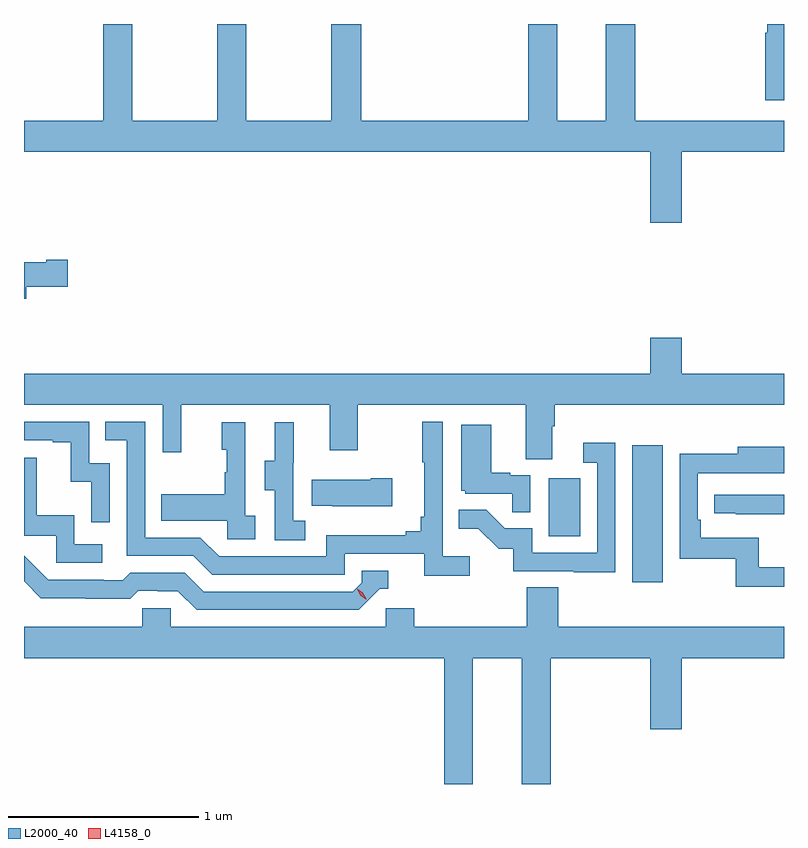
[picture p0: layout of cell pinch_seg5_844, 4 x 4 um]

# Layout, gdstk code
import gdstk
lib = gdstk.Library(unit=1e-6, precision=1e-09)
def R(c, l, rs):  # rectangles x0, y0, x1, y1
    for r in rs: c.add(gdstk.rectangle(r[:2], r[2:], *l))
def P(c, l, *ps):  # polygons
    for p in ps: c.add(gdstk.Polygon(p, *l))
L2000_40 = (2000, 40)
L4158_0 = (4158, 0)

pinch_seg5_844 = lib.new_cell('pinch_seg5_844')
R(pinch_seg5_844, L2000_40, [(824.252,879.804,824.413,880.525), (823.814,880.044,823.978,880.351)])
P(pinch_seg5_844, L2000_40, [(825.051,882.741),(824.963,882.741),(824.963,882.694),(824.951,882.694),(824.951,882.339),(825.051,882.339)],
  [(824.512,882.068),(825.051,882.068),(825.051,882.232),(824.267,882.232),(824.267,882.741),(824.114,882.741),(824.114,882.232),(823.858,882.232),(823.858,882.741),(823.706,882.741),(823.706,882.232),(822.827,882.232),(822.827,882.741),(822.667,882.741),(822.667,882.232),(822.222,882.232),(822.222,882.741),(822.067,882.741),(822.067,882.232),(821.622,882.232),(821.622,882.741),(821.467,882.741),(821.467,882.232),(821.051,882.232),(821.051,882.068),(824.348,882.068),(824.348,881.694),(824.512,881.694)],
  [(821.063,881.359),(821.281,881.359),(821.281,881.501),(821.168,881.501),(821.168,881.488),(821.051,881.488),(821.051,881.294),(821.063,881.294)],
  [(821.051,880.736),(821.781,880.736),(821.781,880.488),(821.879,880.488),(821.879,880.736),(822.659,880.736),(822.659,880.497),(822.807,880.497),(822.807,880.736),(823.691,880.736),(823.691,880.45),(823.831,880.45),(823.831,880.624),(823.844,880.624),(823.844,880.736),(825.051,880.736),(825.051,880.9),(824.512,880.9),(824.512,881.089),(824.348,881.089),(824.348,880.9),(821.051,880.9)],
  [(823.396,879.94),(823.254,879.94),(823.254,880.648),(823.146,880.648),(823.146,880.435),(823.157,880.435),(823.157,880.147),(823.138,880.147),(823.138,880.07),(823.061,880.07),(823.061,880.051),(822.642,880.051),(822.642,879.939),(822.078,879.939),(821.979,880.038),(821.688,880.038),(821.688,880.647),(821.479,880.647),(821.479,880.551),(821.592,880.551),(821.592,879.942),(821.942,879.942),(822.041,879.843),(822.738,879.843),(822.738,879.954),(823.157,879.954),(823.157,879.838),(823.396,879.838)],
  [(821.502,880.428),(821.394,880.428),(821.394,880.647),(821.051,880.647),(821.051,880.551),(821.201,880.551),(821.201,880.539),(821.297,880.539),(821.297,880.331),(821.406,880.331),(821.406,880.119),(821.502,880.119)],
  [(822.532,880.127),(822.468,880.127),(822.468,880.431),(822.47,880.431),(822.47,880.645),(822.371,880.645),(822.371,880.443),(822.317,880.443),(822.317,880.288),(822.372,880.288),(822.372,880.024),(822.532,880.024)],
  [(822.268,880.154),(822.216,880.154),(822.216,880.645),(822.092,880.645),(822.092,880.5),(822.118,880.5),(822.118,880.382),(822.108,880.382),(822.108,880.267),(821.773,880.267),(821.773,880.127),(822.12,880.127),(822.12,880.029),(822.268,880.029)],
  [(823.716,880.365),(823.61,880.365),(823.61,880.378),(823.51,880.378),(823.51,880.633),(823.352,880.633),(823.352,880.284),(823.374,880.284),(823.374,880.269),(823.621,880.269),(823.621,880.171),(823.716,880.171)],
  [(824.163,880.537),(823.995,880.537),(823.995,880.431),(824.067,880.431),(824.067,879.957),(823.725,879.957),(823.725,880.086),(823.581,880.086),(823.483,880.184),(823.339,880.184),(823.339,880.085),(823.443,880.085),(823.55,879.978),(823.627,879.978),(823.627,879.861),(823.945,879.861),(823.945,879.856),(824.163,879.856)],
  [(825.051,879.881),(824.917,879.881),(824.917,880.036),(824.612,880.036),(824.612,880.132),(824.598,880.132),(824.598,880.377),(824.911,880.377),(824.911,880.376),(825.051,880.376),(825.051,880.516),(824.807,880.516),(824.807,880.478),(824.502,880.478),(824.502,879.927),(824.796,879.927),(824.796,879.78),(825.051,879.78)],
  [(821.464,880.002),(821.316,880.002),(821.316,880.156),(821.117,880.156),(821.117,880.459),(821.051,880.459),(821.051,880.047),(821.22,880.047),(821.22,879.906),(821.464,879.906)],
  [(822.988,880.35),(822.875,880.35),(822.875,880.342),(822.565,880.342),(822.565,880.205),(822.673,880.205),(822.673,880.202),(822.988,880.202)],
  [(825.051,880.263),(824.685,880.263),(824.685,880.167),(824.797,880.167),(824.797,880.162),(825.051,880.162)],
  [(822.924,879.768),(822.967,879.768),(822.967,879.864),(822.828,879.864),(822.828,879.801),(822.78,879.753),(821.997,879.753),(821.898,879.852),(821.609,879.852),(821.57,879.813),(821.471,879.813),(821.471,879.816),(821.178,879.816),(821.051,879.943),(821.051,879.808),(821.14,879.719),(821.376,879.719),(821.376,879.717),(821.609,879.717),(821.651,879.759),(821.754,879.759),(821.754,879.756),(821.861,879.756),(821.96,879.657),(822.813,879.657)],
  [(823.414,879.404),(823.67,879.404),(823.67,878.741),(823.823,878.741),(823.823,879.404),(824.348,879.404),(824.348,879.03),(824.512,879.03),(824.512,879.404),(825.051,879.404),(825.051,879.568),(823.862,879.568),(823.862,879.776),(823.697,879.776),(823.697,879.568),(823.106,879.568),(823.106,879.666),(822.954,879.666),(822.954,879.568),(821.823,879.568),(821.823,879.666),(821.673,879.666),(821.673,879.568),(821.051,879.568),(821.051,879.404),(823.262,879.404),(823.262,878.741),(823.414,878.741)])
P(pinch_seg5_844, L4158_0, [(822.85,879.714),(822.82,879.735),(822.805,879.768),(822.805,879.768),(822.805,879.768),(822.835,879.748),(822.851,879.715),(822.851,879.714)])

lib.write_gds('pinch_seg5_844.gds')
